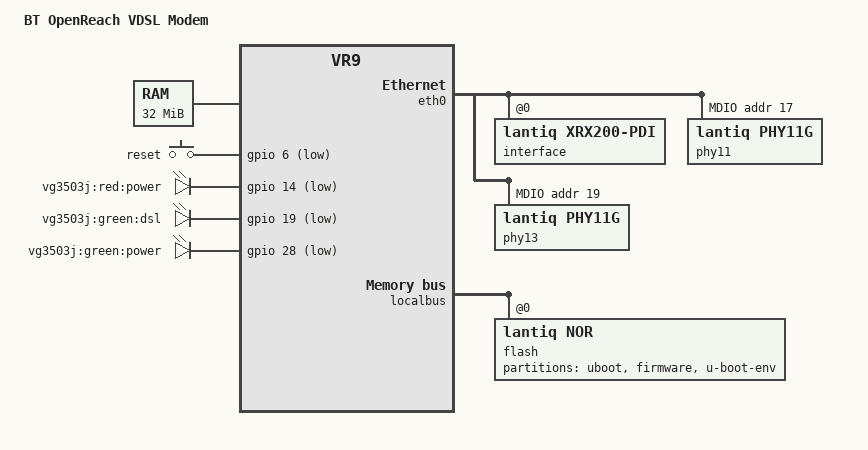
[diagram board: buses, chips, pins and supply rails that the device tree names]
/dts-v1/;

#include "vr9.dtsi"

#include <dt-bindings/input/input.h>
#include <dt-bindings/mips/lantiq_rcu_gphy.h>

/ {
	compatible = "arcadyan,vg3503j", "lantiq,xway", "lantiq,vr9";
	model = "BT OpenReach VDSL Modem";

	chosen {
		bootargs = "console=ttyLTQ0,115200";
	};

	aliases {
		led-boot = &power_green;
		led-failsafe = &power_red;
		led-running = &power_green;
		led-upgrade = &power_green;

		led-dsl = &dsl;
	};

	memory@0 {
		device_type = "memory";
		reg = <0x0 0x2000000>;
	};

	keys {
		compatible = "gpio-keys-polled";
		poll-interval = <100>;
		reset {
			label = "reset";
			gpios = <&gpio 6 GPIO_ACTIVE_LOW>;
			linux,code = <KEY_RESTART>;
		};
	};

	leds {
		compatible = "gpio-leds";

		power_red: power2 {
			label = "vg3503j:red:power";
			gpios = <&gpio 14 GPIO_ACTIVE_LOW>;
		};
		dsl: dsl {
			label = "vg3503j:green:dsl";
			gpios = <&gpio 19 GPIO_ACTIVE_LOW>;
		};
		power_green: power {
			label = "vg3503j:green:power";
			gpios = <&gpio 28 GPIO_ACTIVE_LOW>;
			default-state = "keep";
		};
	};
};

&eth0 {
	pinctrl-0 = <&mdio_pins>,
		    <&gphy0_led0_pins>, <&gphy0_led1_pins>, <&gphy0_led2_pins>,
		    <&gphy1_led0_pins>, <&gphy1_led1_pins>, <&gphy1_led2_pins>;

	interface@0 {
		compatible = "lantiq,xrx200-pdi";
		#address-cells = <1>;
		#size-cells = <0>;
		reg = <0>;

		lantiq,switch;
		ethernet@2 {
			compatible = "lantiq,xrx200-pdi-port";
			reg = <2>;
			phy-mode = "mii";
			phy-handle = <&phy11>;
		};
		ethernet@4 {
			compatible = "lantiq,xrx200-pdi-port";
			reg = <4>;
			phy-mode = "mii";
			phy-handle = <&phy13>;
		};
	};

	mdio {
		#address-cells = <1>;
		#size-cells = <0>;
		compatible = "lantiq,xrx200-mdio";

		phy11: ethernet-phy@11 {
			reg = <0x11>;
			compatible = "lantiq,phy11g", "ethernet-phy-ieee802.3-c22";
			lantiq,led1h = <0x70>;
			lantiq,led1l = <0x00>;
			lantiq,led2h = <0x00>;
			lantiq,led2l = <0x03>;
		};
		phy13: ethernet-phy@13 {
			reg = <0x13>;
			compatible = "lantiq,phy11g", "ethernet-phy-ieee802.3-c22";
			lantiq,led1h = <0x70>;
			lantiq,led1l = <0x00>;
			lantiq,led2h = <0x00>;
			lantiq,led2l = <0x03>;
		};
	};
};

&gphy0 {
	lantiq,gphy-mode = <GPHY_MODE_GE>;
};

&gphy1 {
	lantiq,gphy-mode = <GPHY_MODE_GE>;
};

&localbus {
	flash@0 {
		compatible = "lantiq,nor";
		bank-width = <2>;
		reg = <0 0x0 0x2000000>;

		partitions {
			compatible = "fixed-partitions";
			#address-cells = <1>;
			#size-cells = <1>;

			partition@0 {
				label = "uboot";
				reg = <0x00000 0x20000>;
			};

			partition@20000 {
				label = "firmware";
				reg = <0x20000 0x7d0000>;
			};

			partition@7f0000 {
				label = "u-boot-env";
				reg = <0x7f0000 0x10000>;
			};
		};
	};
};
